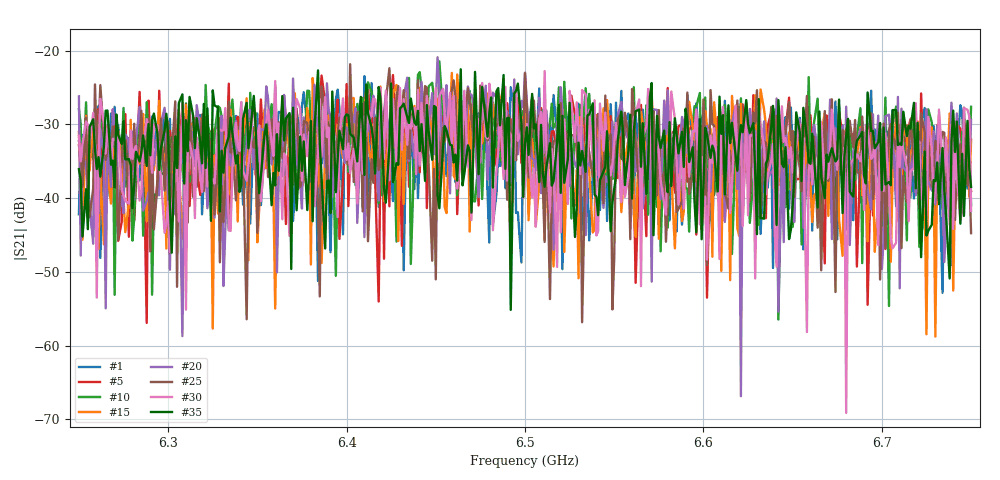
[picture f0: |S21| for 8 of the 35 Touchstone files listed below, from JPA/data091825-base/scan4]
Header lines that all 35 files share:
# Hz S RI R 50
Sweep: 6.25 GHz to 6.75 GHz
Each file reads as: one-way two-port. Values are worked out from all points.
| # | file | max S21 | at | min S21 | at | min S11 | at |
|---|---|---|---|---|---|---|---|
| 1 | trace41.s2p | -23.47 dB | 6.41 GHz | -52.8 dB | 6.734 GHz | -4.5 dB | 6.75 GHz |
| 2 | trace42.s2p | -21.79 dB | 6.381 GHz | -58.9 dB | 6.454 GHz | -4.0 dB | 6.634 GHz |
| 3 | trace43.s2p | -22.86 dB | 6.431 GHz | -69.7 dB | 6.662 GHz | -12.3 dB | 6.488 GHz |
| 4 | trace44.s2p | -20.19 dB | 6.419 GHz | -51.7 dB | 6.642 GHz | -13.7 dB | 6.488 GHz |
| 5 | trace45.s2p | -23.32 dB | 6.426 GHz | -56.9 dB | 6.288 GHz | -4.0 dB | 6.674 GHz |
| 6 | trace46.s2p | -22.02 dB | 6.418 GHz | -54.7 dB | 6.701 GHz | -3.5 dB | 6.658 GHz |
| 7 | trace47.s2p | -21.42 dB | 6.476 GHz | -57.0 dB | 6.42 GHz | -3.6 dB | 6.621 GHz |
| 8 | trace48.s2p | -21.60 dB | 6.461 GHz | -71.6 dB | 6.338 GHz | -15.6 dB | 6.488 GHz |
| 9 | trace49.s2p | -21.79 dB | 6.365 GHz | -59.7 dB | 6.355 GHz | -3.8 dB | 6.649 GHz |
| 10 | trace50.s2p | -21.47 dB | 6.452 GHz | -56.5 dB | 6.642 GHz | -3.5 dB | 6.648 GHz |
| 11 | trace51.s2p | -23.36 dB | 6.438 GHz | -59.7 dB | 6.296 GHz | -3.7 dB | 6.659 GHz |
| 12 | trace52.s2p | -21.20 dB | 6.471 GHz | -70.2 dB | 6.744 GHz | -3.6 dB | 6.665 GHz |
| 13 | trace53.s2p | -23.50 dB | 6.411 GHz | -58.3 dB | 6.541 GHz | -3.5 dB | 6.65 GHz |
| 14 | trace54.s2p | -21.81 dB | 6.44 GHz | -55.6 dB | 6.558 GHz | -3.7 dB | 6.638 GHz |
| 15 | trace55.s2p | -23.03 dB | 6.459 GHz | -58.8 dB | 6.73 GHz | -13.5 dB | 6.488 GHz |
| 16 | trace56.s2p | -22.42 dB | 6.444 GHz | -56.4 dB | 6.525 GHz | -3.7 dB | 6.611 GHz |
| 17 | trace57.s2p | -23.81 dB | 6.432 GHz | -69.1 dB | 6.328 GHz | -3.7 dB | 6.625 GHz |
| 18 | trace58.s2p | -21.94 dB | 6.404 GHz | -52.2 dB | 6.276 GHz | -4.3 dB | 6.74 GHz |
| 19 | trace61.s2p | -21.38 dB | 6.439 GHz | -61.4 dB | 6.614 GHz | -6.4 dB | 6.488 GHz |
| 20 | trace62.s2p | -20.91 dB | 6.451 GHz | -66.9 dB | 6.621 GHz | -3.6 dB | 6.69 GHz |
| 21 | trace63.s2p | -21.72 dB | 6.37 GHz | -57.6 dB | 6.715 GHz | -10.8 dB | 6.488 GHz |
| 22 | trace64.s2p | -23.16 dB | 6.404 GHz | -56.8 dB | 6.382 GHz | -3.7 dB | 6.68 GHz |
| 23 | trace65.s2p | -21.11 dB | 6.432 GHz | -60.4 dB | 6.332 GHz | -3.7 dB | 6.66 GHz |
| 24 | trace66.s2p | -22.01 dB | 6.454 GHz | -61.4 dB | 6.556 GHz | -10.1 dB | 6.488 GHz |
| 25 | trace67.s2p | -21.85 dB | 6.402 GHz | -56.8 dB | 6.532 GHz | -16.9 dB | 6.488 GHz |
| 26 | trace68.s2p | -23.25 dB | 6.62 GHz | -58.2 dB | 6.314 GHz | -14.9 dB | 6.488 GHz |
| 27 | trace69.s2p | -20.75 dB | 6.408 GHz | -54.7 dB | 6.538 GHz | -3.1 dB | 6.679 GHz |
| 28 | trace72.s2p | -22.93 dB | 6.362 GHz | -61.4 dB | 6.291 GHz | -3.7 dB | 6.63 GHz |
| 29 | trace73.s2p | -23.33 dB | 6.439 GHz | -60.1 dB | 6.285 GHz | -3.8 dB | 6.615 GHz |
| 30 | trace74.s2p | -22.77 dB | 6.511 GHz | -69.1 dB | 6.68 GHz | -4.0 dB | 6.629 GHz |
| 31 | trace75.s2p | -22.59 dB | 6.444 GHz | -75.4 dB | 6.324 GHz | -3.5 dB | 6.639 GHz |
| 32 | trace76.s2p | -22.99 dB | 6.479 GHz | -62.9 dB | 6.456 GHz | -12.4 dB | 6.488 GHz |
| 33 | trace77.s2p | -20.83 dB | 6.444 GHz | -59.3 dB | 6.355 GHz | -8.4 dB | 6.488 GHz |
| 34 | trace78.s2p | -22.21 dB | 6.421 GHz | -61.8 dB | 6.721 GHz | -3.7 dB | 6.626 GHz |
| 35 | trace79.s2p | -22.54 dB | 6.464 GHz | -55.2 dB | 6.492 GHz | -7.7 dB | 6.488 GHz |
